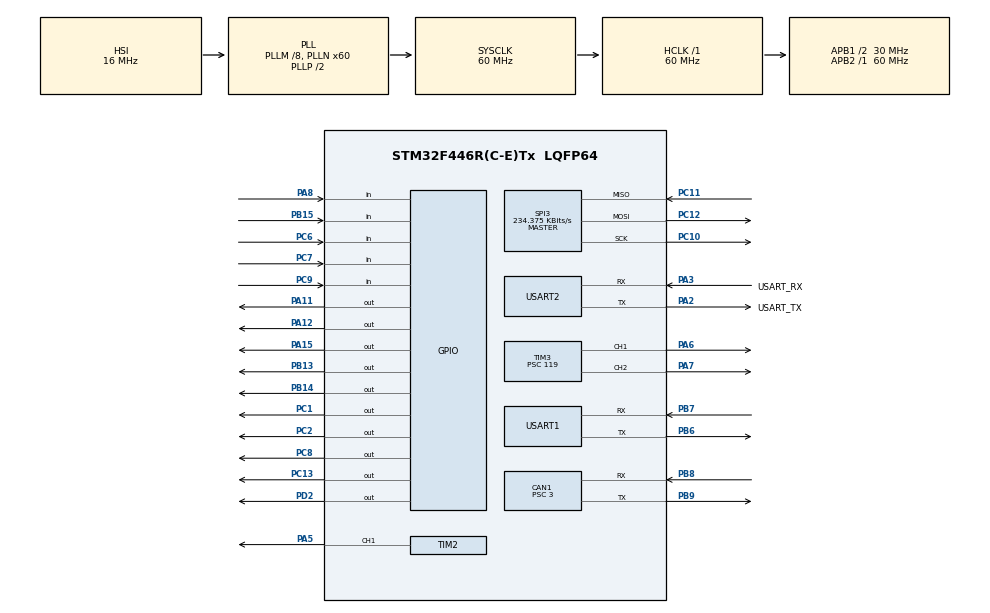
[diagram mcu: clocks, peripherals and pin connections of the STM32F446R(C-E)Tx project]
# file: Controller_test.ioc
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CAN1.BS1=CAN_BS1_7TQ
CAN1.BS2=CAN_BS2_2TQ
CAN1.CalculateTimeQuantum=100.0
CAN1.Prescaler=3
Mcu.Family=STM32F4
Mcu.Name=STM32F446R(C-E)Tx
Mcu.Package=LQFP64
NVIC.CAN1_RX0_IRQn=true\:0\:0\:false\:false\:true\:true\:true
NVIC.CAN1_RX1_IRQn=true\:0\:0\:false\:false\:true\:true\:true
NVIC.CAN1_TX_IRQn=true\:0\:0\:false\:false\:true\:true\:true
NVIC.PriorityGroup=NVIC_PRIORITYGROUP_0
NVIC.TIM6_DAC_IRQn=true\:0\:0\:false\:false\:true\:true\:true
PA10.Signal=S_TIM1_CH3
PA11.Signal=GPIO_Output
PA12.Signal=GPIO_Output
PA13.GPIO_Label=TMS
PA13.Mode=Serial_Wire
PA13.Signal=SYS_JTMS-SWDIO
PA14.GPIO_Label=TCK
PA14.Mode=Serial_Wire
PA14.Signal=SYS_JTCK-SWCLK
PA15.Signal=GPIO_Output
PA2.GPIO_Label=USART_TX
PA2.Mode=Asynchronous
PA2.Signal=USART2_TX
PA3.GPIO_Label=USART_RX
PA3.Mode=Asynchronous
PA3.Signal=USART2_RX
PA5.Signal=S_TIM2_CH1_ETR
PA6.Signal=S_TIM3_CH1
PA7.Signal=S_TIM3_CH2
PA8.GPIO_PuPd=GPIO_PULLUP
PA8.Signal=GPIO_Input
PA9.Signal=S_TIM1_CH2
PB10.Signal=SPI2_SCK
PB13.Signal=GPIO_Output
PB14.Signal=GPIO_Output
PB15.GPIO_PuPd=GPIO_PULLUP
PB15.Signal=GPIO_Input
PB3.GPIO_Label=SWO
PB3.Signal=SYS_JTDO-SWO
PB6.Mode=Asynchronous
PB6.Signal=USART1_TX
PB7.Mode=Asynchronous
PB7.Signal=USART1_RX
PB8.Mode=Master
PB8.Signal=CAN1_RX
PB9.Mode=Master
PB9.Signal=CAN1_TX
PC1.Signal=GPIO_Output
PC10.Mode=Full_Duplex_Master
PC10.Signal=SPI3_SCK
PC11.Mode=Full_Duplex_Master
PC11.Signal=SPI3_MISO
PC12.Mode=Full_Duplex_Master
PC12.Signal=SPI3_MOSI
PC13.Signal=GPIO_Output
PC14-OSC32_IN.Mode=LSE-External-Oscillator
PC14-OSC32_IN.Signal=RCC_OSC32_IN
PC15-OSC32_OUT.Mode=LSE-External-Oscillator
PC15-OSC32_OUT.Signal=RCC_OSC32_OUT
PC2.Signal=GPIO_Output
PC6.GPIO_PuPd=GPIO_PULLUP
PC6.Signal=GPIO_Input
PC7.GPIO_PuPd=GPIO_PULLUP
PC7.Signal=GPIO_Input
PC8.Signal=GPIO_Output
PC9.GPIO_PuPd=GPIO_PULLUP
PC9.Signal=GPIO_Input
PD2.Signal=GPIO_Output
PH0-OSC_IN.Mode=HSE-External-Oscillator
PH0-OSC_IN.Signal=RCC_OSC_IN
PH1-OSC_OUT.Mode=HSE-External-Oscillator
PH1-OSC_OUT.Signal=RCC_OSC_OUT
ProjectManager.HeapSize=0x200
ProjectManager.StackSize=0x400
ProjectManager.TargetToolchain=SW4STM32
RCC.48MHZClocksFreq_Value=84000000
RCC.AHBFreq_Value=60000000
RCC.APB1CLKDivider=RCC_HCLK_DIV2
RCC.APB1Freq_Value=30000000
RCC.APB1TimFreq_Value=60000000
RCC.APB2Freq_Value=60000000
RCC.APB2TimFreq_Value=60000000
RCC.CortexFreq_Value=60000000
RCC.FLatency-AdvancedSettings=FLASH_LATENCY_1
RCC.HCLKFreq_Value=60000000
RCC.HSE_VALUE=8000000
RCC.HSI_VALUE=16000000
RCC.PLLM=8
RCC.PLLN=60
RCC.SYSCLKFreq_VALUE=60000000
RCC.SYSCLKSource=RCC_SYSCLKSOURCE_PLLCLK
RCC.USBFreq_Value=60000000
RCC.VCOOutputFreq_Value=120000000
SH.S_TIM1_CH2.0=TIM1_CH2
SH.S_TIM1_CH3.0=TIM1_CH3
SH.S_TIM2_CH1_ETR.0=TIM2_CH1,PWM Generation1 CH1
SH.S_TIM3_CH1.0=TIM3_CH1,PWM Generation1 CH1
SH.S_TIM3_CH2.0=TIM3_CH2,PWM Generation2 CH2
SPI3.BaudRatePrescaler=SPI_BAUDRATEPRESCALER_128
SPI3.CLKPhase=SPI_PHASE_2EDGE
SPI3.CLKPolarity=SPI_POLARITY_HIGH
SPI3.CalculateBaudRate=234.375 KBits/s
SPI3.Direction=SPI_DIRECTION_2LINES
SPI3.FirstBit=SPI_FIRSTBIT_LSB
SPI3.Mode=SPI_MODE_MASTER
SPI3.VirtualType=VM_MASTER
TIM2.Channel-PWM\ Generation1\ CH1=TIM_CHANNEL_1
TIM2.Period=9999
TIM2.Prescaler=119
TIM3.Channel-PWM\ Generation1\ CH1=TIM_CHANNEL_1
TIM3.Channel-PWM\ Generation2\ CH2=TIM_CHANNEL_2
TIM3.Period=9999
TIM3.Prescaler=119
TIM6.Period=599
TIM6.Prescaler=999
USART1.VirtualMode=VM_ASYNC
USART2.VirtualMode=VM_ASYNC
VP_TIM1_VS_ClockSourceINT.Mode=Internal
VP_TIM6_VS_ClockSourceINT.Mode=Enable_Timer
board=NUCLEO-F446RE

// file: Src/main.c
/* USER CODE BEGIN Header */
/**
  ******************************************************************************
  * @file           : main.c
  * @brief          : Main program body
  ******************************************************************************
  ** This notice applies to any and all portions of this file
  * that are not between comment pairs USER CODE BEGIN and
  * USER CODE END. Other portions of this file, whether
  * inserted by the user or by software development tools
  * are owned by their respective copyright owners.
  *
  * COPYRIGHT(c) 2019 STMicroelectronics
  *
  * Redistribution and use in source and binary forms, with or without modification,
  * are permitted provided that the following conditions are met:
  *   1. Redistributions of source code must retain the above copyright notice,
  *      this list of conditions and the following disclaimer.
  *   2. Redistributions in binary form must reproduce the above copyright notice,
  *      this list of conditions and the following disclaimer in the documentation
  *      and/or other materials provided with the distribution.
  *   3. Neither the name of STMicroelectronics nor the names of its contributors
  *      may be used to endorse or promote products derived from this software
  *      without specific prior written permission.
  *
  * THIS SOFTWARE IS PROVIDED BY THE COPYRIGHT HOLDERS AND CONTRIBUTORS "AS IS"
  * AND ANY EXPRESS OR IMPLIED WARRANTIES, INCLUDING, BUT NOT LIMITED TO, THE
  * IMPLIED WARRANTIES OF MERCHANTABILITY AND FITNESS FOR A PARTICULAR PURPOSE ARE
  * DISCLAIMED. IN NO EVENT SHALL THE COPYRIGHT HOLDER OR CONTRIBUTORS BE LIABLE
  * FOR ANY DIRECT, INDIRECT, INCIDENTAL, SPECIAL, EXEMPLARY, OR CONSEQUENTIAL
  * DAMAGES (INCLUDING, BUT NOT LIMITED TO, PROCUREMENT OF SUBSTITUTE GOODS OR
  * SERVICES; LOSS OF USE, DATA, OR PROFITS; OR BUSINESS INTERRUPTION) HOWEVER
  * CAUSED AND ON ANY THEORY OF LIABILITY, WHETHER IN CONTRACT, STRICT LIABILITY,
  * OR TORT (INCLUDING NEGLIGENCE OR OTHERWISE) ARISING IN ANY WAY OUT OF THE USE
  * OF THIS SOFTWARE, EVEN IF ADVISED OF THE POSSIBILITY OF SUCH DAMAGE.
  *
  ******************************************************************************
  */
/* USER CODE END Header */

#include "main.h"

/* USER CODE BEGIN Includes */
#include "struct.h"
#include "controller.h"
#include "motor.h"
#include "servomotor.h"
#include "microswitch.h"
#include "CAN_main.h"

/* USER CODE END Includes */

/* USER CODE BEGIN PM */
//#define CONTROLLER_SPI_HANDLER	hspi2
/* USER CODE END PM */

CAN_HandleTypeDef hcan1;

SPI_HandleTypeDef hspi3;

TIM_HandleTypeDef htim1;
TIM_HandleTypeDef htim2;
TIM_HandleTypeDef htim3;
TIM_HandleTypeDef htim6;

UART_HandleTypeDef huart1;
UART_HandleTypeDef huart2;

/* USER CODE BEGIN PV */
static char s[255] = {'\0'};
uint16_t flag;
int AUTO_SERVO1_angle = AUTO_SERVO1_ZERO_ANGLE;
int AUTO_SERVO2_angle = AUTO_SERVO2_ZERO_ANGLE;
int angle = 0;
float current_pos = 0;

CAN_TxHeaderTypeDef   TxHeader;
CAN_RxHeaderTypeDef   RxHeader;

uint8_t               TxData[8];
uint8_t               RxData[8];
uint32_t              TxMailbox;

/* USER CODE END PV */

void SystemClock_Config(void);
static void MX_GPIO_Init(void);
static void MX_USART2_UART_Init(void);
static void MX_TIM6_Init(void);
static void MX_SPI3_Init(void);
static void MX_TIM3_Init(void);
static void MX_TIM1_Init(void);
static void MX_TIM2_Init(void);
static void MX_CAN1_Init(void);
static void MX_USART1_UART_Init(void);

/* USER CODE BEGIN 0 */

void HAL_TIM_PeriodElapsedCallback(TIM_HandleTypeDef *htim){
	if(htim->Instance == TIM6){
		static uint16_t button_data = 0;
		int can_stop = 0;
		int can_button = 0;
		int can_transmit = 0;
		int GPIO1 = 0;
		int GPIO2 = 0;

		//SPI communication with DUALSHOCK2
		//static uint16_t button_data = 0;
		//static uint16_t prev_button_data = 0;
		analog_stick_norm analog_left_norm, analog_right_norm;
		analog_stick_polar analog_left_polar, analog_right_polar;

		PSControllerGetData(&button_data, &analog_left_norm, &analog_right_norm, &analog_left_polar, &analog_right_polar);
		flag = filter(button_data, analog_left_norm, analog_right_norm, analog_left_polar, analog_right_polar);

		//button_data = 0;
	    if(flag == 1){

			//static float hand_yaw_angle = SERVO1_ZERO_ANGLE;

			//手動時は矢印ボタン左右でYaw軸
			if (button_data == CONTOROLLER_LEFT) {
				AUTO_SERVO2_angle = fminf((AUTO_SERVO2_angle + 1), AUTO_SERVO2_MAX_ANGLE);
			} else if (button_data == CONTOROLLER_RIGHT) {
				AUTO_SERVO2_angle = fmaxf((AUTO_SERVO2_angle - 1), AUTO_SERVO2_MIN_ANGLE);
			}
			if (button_data == CONTOROLLER_UP) {
				AUTO_SERVO1_angle = fminf((AUTO_SERVO1_angle + 1), AUTO_SERVO1_MAX_ANGLE);
			} else if (button_data == CONTOROLLER_DOWN) {
				AUTO_SERVO1_angle = fmaxf((AUTO_SERVO1_angle - 1), AUTO_SERVO1_MIN_ANGLE);
			}
			ServoSetAngle(AUTO_SERVO2_angle,AUTO_SERVO2_ID);
			ServoSetAngle(AUTO_SERVO1_angle,AUTO_SERVO1_ID);

			 HAL_GPIO_WritePin(GPIOC, GPIO_PIN_2, GPIO_PIN_RESET);
			 HAL_GPIO_WritePin(GPIOC, GPIO_PIN_13, GPIO_PIN_RESET);

			if (button_data == CONTOROLLER_DOWN){
				can_button = 1;
			}
			if (button_data == CONTOROLLER_CIRCLE){
				 HAL_GPIO_WritePin(GPIOC, GPIO_PIN_2, GPIO_PIN_SET);
				 GPIO1 = 1;

			}
			if (button_data == CONTOROLLER_SQUARE){
				 HAL_GPIO_WritePin(GPIOC, GPIO_PIN_13, GPIO_PIN_SET);
				 GPIO2 = 1;
			}
			if(current_pos > 0.15f || current_pos < -0.15f){
				can_stop = 1;
			}

			/*
			//CANでコントローラの入力から計算した目標位置を送信
			  TxHeader.StdId = 0x123;
			  TxHeader.RTR = CAN_RTR_DATA;
			  TxHeader.IDE = CAN_ID_STD;
			  TxHeader.DLC = 3;
			  TxHeader.TransmitGlobalTime = DISABLE;
			  TxData[0] = (int)(current_pos*1000);
			  TxData[1] = can_button;
			  TxData[2] = 1;

			  if(can_button == 1){
					//コントローラの入力により目標直交座標を更新
					current_pos = current_pos + (analog_left_norm.x)  * MOTOR_speed;
			  }

			  if(can_stop != 1){
				  // Request transmission
				  if(HAL_CAN_AddTxMessage(&hcan1, &TxHeader, TxData, &TxMailbox) != HAL_OK)
				  {
				    // Transmission request Error
					can_transmit = 100;
				    Error_Handler();
				  }
				  can_transmit = 1;
			  }
			  */

		    	sprintf(s, "button_data: %d left_norm.x: %d angle2: %d cur_pos: %d SW: %d GPIO: %d %d angle1: %d \r\n", (int)button_data,(int)(analog_right_norm.x*100.0),AUTO_SERVO2_angle,(int)(current_pos*1000.0),MicroSwitchIsOn(MICSW_R_MAX),GPIO1,GPIO2,AUTO_SERVO1_angle);
		    	HAL_UART_Transmit(&huart2,(uint8_t *)s, strlen(s), 100);

		    	/*
		    	int txData[1];
		    	txData[0] = 1;

		    	//int txData = 1;
		    	HAL_UART_Transmit(&huart1,(int *)txData, sizeof(txData), 100);

				*/

	    }
	}
}
/* USER CODE END 0 */

int main(void)
{

  /* MCU Configuration--------------------------------------------------------*/

  /* Reset of all peripherals, Initializes the Flash interface and the Systick. */
  HAL_Init();

  /* Configure the system clock */
  SystemClock_Config();

  /* Initialize all configured peripherals */
  MX_GPIO_Init();
  MX_USART2_UART_Init();
  MX_TIM6_Init();
  MX_SPI3_Init();
  MX_TIM3_Init();
  MX_TIM1_Init();
  MX_TIM2_Init();
  MX_CAN1_Init();
  MX_USART1_UART_Init();
  /* USER CODE BEGIN 2 */
 // CoordinateEnable();
  my_CAN_Init(&hcan1);

  if (HAL_CAN_ActivateNotification(&hcan1, CAN_IT_RX_FIFO0_MSG_PENDING) != HAL_OK)
  {

	Error_Handler();
  }

  ServoEnable();

//  TestPos();

  HAL_Delay(2000);

//  CoodinateDisable();

  HAL_TIM_Base_Start_IT(&htim6);

  /* USER CODE END 2 */

  /* Infinite loop */
  while (1)
  {

  }
}

void SystemClock_Config(void)
{
  RCC_OscInitTypeDef RCC_OscInitStruct = {0};
  RCC_ClkInitTypeDef RCC_ClkInitStruct = {0};

  /** Configure the main internal regulator output voltage
  */
  __HAL_RCC_PWR_CLK_ENABLE();
  __HAL_PWR_VOLTAGESCALING_CONFIG(PWR_REGULATOR_VOLTAGE_SCALE3);
  /** Initializes the CPU, AHB and APB busses clocks
  */
  RCC_OscInitStruct.OscillatorType = RCC_OSCILLATORTYPE_HSI;
  RCC_OscInitStruct.HSIState = RCC_HSI_ON;
  RCC_OscInitStruct.HSICalibrationValue = RCC_HSICALIBRATION_DEFAULT;
  RCC_OscInitStruct.PLL.PLLState = RCC_PLL_ON;
  RCC_OscInitStruct.PLL.PLLSource = RCC_PLLSOURCE_HSI;
  RCC_OscInitStruct.PLL.PLLM = 8;
  RCC_OscInitStruct.PLL.PLLN = 60;
  RCC_OscInitStruct.PLL.PLLP = RCC_PLLP_DIV2;
  RCC_OscInitStruct.PLL.PLLQ = 2;
  RCC_OscInitStruct.PLL.PLLR = 2;
  if (HAL_RCC_OscConfig(&RCC_OscInitStruct) != HAL_OK)
  {
    Error_Handler();
  }
  /** Initializes the CPU, AHB and APB busses clocks
  */
  RCC_ClkInitStruct.ClockType = RCC_CLOCKTYPE_HCLK|RCC_CLOCKTYPE_SYSCLK
                              |RCC_CLOCKTYPE_PCLK1|RCC_CLOCKTYPE_PCLK2;
  RCC_ClkInitStruct.SYSCLKSource = RCC_SYSCLKSOURCE_PLLCLK;
  RCC_ClkInitStruct.AHBCLKDivider = RCC_SYSCLK_DIV1;
  RCC_ClkInitStruct.APB1CLKDivider = RCC_HCLK_DIV2;
  RCC_ClkInitStruct.APB2CLKDivider = RCC_HCLK_DIV1;

  if (HAL_RCC_ClockConfig(&RCC_ClkInitStruct, FLASH_LATENCY_1) != HAL_OK)
  {
    Error_Handler();
  }
}

static void MX_CAN1_Init(void)
{

  hcan1.Instance = CAN1;
  hcan1.Init.Prescaler = 3;
  hcan1.Init.Mode = CAN_MODE_NORMAL;
  hcan1.Init.SyncJumpWidth = CAN_SJW_1TQ;
  hcan1.Init.TimeSeg1 = CAN_BS1_7TQ;
  hcan1.Init.TimeSeg2 = CAN_BS2_2TQ;
  hcan1.Init.TimeTriggeredMode = DISABLE;
  hcan1.Init.AutoBusOff = DISABLE;
  hcan1.Init.AutoWakeUp = DISABLE;
  hcan1.Init.AutoRetransmission = DISABLE;
  hcan1.Init.ReceiveFifoLocked = DISABLE;
  hcan1.Init.TransmitFifoPriority = DISABLE;
  if (HAL_CAN_Init(&hcan1) != HAL_OK)
  {
    Error_Handler();
  }

}

static void MX_SPI3_Init(void)
{

  /* SPI3 parameter configuration*/
  hspi3.Instance = SPI3;
  hspi3.Init.Mode = SPI_MODE_MASTER;
  hspi3.Init.Direction = SPI_DIRECTION_2LINES;
  hspi3.Init.DataSize = SPI_DATASIZE_8BIT;
  hspi3.Init.CLKPolarity = SPI_POLARITY_HIGH;
  hspi3.Init.CLKPhase = SPI_PHASE_2EDGE;
  hspi3.Init.NSS = SPI_NSS_SOFT;
  hspi3.Init.BaudRatePrescaler = SPI_BAUDRATEPRESCALER_128;
  hspi3.Init.FirstBit = SPI_FIRSTBIT_LSB;
  hspi3.Init.TIMode = SPI_TIMODE_DISABLE;
  hspi3.Init.CRCCalculation = SPI_CRCCALCULATION_DISABLE;
  hspi3.Init.CRCPolynomial = 10;
  if (HAL_SPI_Init(&hspi3) != HAL_OK)
  {
    Error_Handler();
  }

}

static void MX_TIM1_Init(void)
{

  TIM_ClockConfigTypeDef sClockSourceConfig = {0};
  TIM_MasterConfigTypeDef sMasterConfig = {0};

  htim1.Instance = TIM1;
  htim1.Init.Prescaler = 0;
  htim1.Init.CounterMode = TIM_COUNTERMODE_UP;
  htim1.Init.Period = 0;
  htim1.Init.ClockDivision = TIM_CLOCKDIVISION_DIV1;
  htim1.Init.RepetitionCounter = 0;
  htim1.Init.AutoReloadPreload = TIM_AUTORELOAD_PRELOAD_DISABLE;
  if (HAL_TIM_Base_Init(&htim1) != HAL_OK)
  {
    Error_Handler();
  }
  sClockSourceConfig.ClockSource = TIM_CLOCKSOURCE_INTERNAL;
  if (HAL_TIM_ConfigClockSource(&htim1, &sClockSourceConfig) != HAL_OK)
  {
    Error_Handler();
  }
  sMasterConfig.MasterOutputTrigger = TIM_TRGO_RESET;
  sMasterConfig.MasterSlaveMode = TIM_MASTERSLAVEMODE_DISABLE;
  if (HAL_TIMEx_MasterConfigSynchronization(&htim1, &sMasterConfig) != HAL_OK)
  {
    Error_Handler();
  }

}

static void MX_TIM2_Init(void)
{

  TIM_MasterConfigTypeDef sMasterConfig = {0};
  TIM_OC_InitTypeDef sConfigOC = {0};

  htim2.Instance = TIM2;
  htim2.Init.Prescaler = 119;
  htim2.Init.CounterMode = TIM_COUNTERMODE_UP;
  htim2.Init.Period = 9999;
  htim2.Init.ClockDivision = TIM_CLOCKDIVISION_DIV1;
  htim2.Init.AutoReloadPreload = TIM_AUTORELOAD_PRELOAD_DISABLE;
  if (HAL_TIM_PWM_Init(&htim2) != HAL_OK)
  {
    Error_Handler();
  }
  sMasterConfig.MasterOutputTrigger = TIM_TRGO_RESET;
  sMasterConfig.MasterSlaveMode = TIM_MASTERSLAVEMODE_DISABLE;
  if (HAL_TIMEx_MasterConfigSynchronization(&htim2, &sMasterConfig) != HAL_OK)
  {
    Error_Handler();
  }
  sConfigOC.OCMode = TIM_OCMODE_PWM1;
  sConfigOC.Pulse = 0;
  sConfigOC.OCPolarity = TIM_OCPOLARITY_HIGH;
  sConfigOC.OCFastMode = TIM_OCFAST_DISABLE;
  if (HAL_TIM_PWM_ConfigChannel(&htim2, &sConfigOC, TIM_CHANNEL_1) != HAL_OK)
  {
    Error_Handler();
  }
  HAL_TIM_MspPostInit(&htim2);

}

static void MX_TIM3_Init(void)
{

  TIM_MasterConfigTypeDef sMasterConfig = {0};
  TIM_OC_InitTypeDef sConfigOC = {0};

  htim3.Instance = TIM3;
  htim3.Init.Prescaler = 119;
  htim3.Init.CounterMode = TIM_COUNTERMODE_UP;
  htim3.Init.Period = 9999;
  htim3.Init.ClockDivision = TIM_CLOCKDIVISION_DIV1;
  htim3.Init.AutoReloadPreload = TIM_AUTORELOAD_PRELOAD_DISABLE;
  if (HAL_TIM_PWM_Init(&htim3) != HAL_OK)
  {
    Error_Handler();
  }
  sMasterConfig.MasterOutputTrigger = TIM_TRGO_RESET;
  sMasterConfig.MasterSlaveMode = TIM_MASTERSLAVEMODE_DISABLE;
  if (HAL_TIMEx_MasterConfigSynchronization(&htim3, &sMasterConfig) != HAL_OK)
  {
    Error_Handler();
  }
  sConfigOC.OCMode = TIM_OCMODE_PWM1;
  sConfigOC.Pulse = 0;
  sConfigOC.OCPolarity = TIM_OCPOLARITY_HIGH;
  sConfigOC.OCFastMode = TIM_OCFAST_DISABLE;
  if (HAL_TIM_PWM_ConfigChannel(&htim3, &sConfigOC, TIM_CHANNEL_1) != HAL_OK)
  {
    Error_Handler();
  }
  if (HAL_TIM_PWM_ConfigChannel(&htim3, &sConfigOC, TIM_CHANNEL_2) != HAL_OK)
  {
    Error_Handler();
  }
  HAL_TIM_MspPostInit(&htim3);

}

static void MX_TIM6_Init(void)
{

  TIM_MasterConfigTypeDef sMasterConfig = {0};

  htim6.Instance = TIM6;
  htim6.Init.Prescaler = 999;
  htim6.Init.CounterMode = TIM_COUNTERMODE_UP;
  htim6.Init.Period = 599;
  htim6.Init.AutoReloadPreload = TIM_AUTORELOAD_PRELOAD_DISABLE;
  if (HAL_TIM_Base_Init(&htim6) != HAL_OK)
  {
    Error_Handler();
  }
  sMasterConfig.MasterOutputTrigger = TIM_TRGO_RESET;
  sMasterConfig.MasterSlaveMode = TIM_MASTERSLAVEMODE_DISABLE;
  if (HAL_TIMEx_MasterConfigSynchronization(&htim6, &sMasterConfig) != HAL_OK)
  {
    Error_Handler();
  }

}

static void MX_USART1_UART_Init(void)
{

  huart1.Instance = USART1;
  huart1.Init.BaudRate = 115200;
  huart1.Init.WordLength = UART_WORDLENGTH_8B;
  huart1.Init.StopBits = UART_STOPBITS_1;
  huart1.Init.Parity = UART_PARITY_NONE;
  huart1.Init.Mode = UART_MODE_TX_RX;
  huart1.Init.HwFlowCtl = UART_HWCONTROL_NONE;
  huart1.Init.OverSampling = UART_OVERSAMPLING_16;
  if (HAL_UART_Init(&huart1) != HAL_OK)
  {
    Error_Handler();
  }

}

static void MX_USART2_UART_Init(void)
{

  huart2.Instance = USART2;
  huart2.Init.BaudRate = 115200;
  huart2.Init.WordLength = UART_WORDLENGTH_8B;
  huart2.Init.StopBits = UART_STOPBITS_1;
  huart2.Init.Parity = UART_PARITY_NONE;
  huart2.Init.Mode = UART_MODE_TX_RX;
  huart2.Init.HwFlowCtl = UART_HWCONTROL_NONE;
  huart2.Init.OverSampling = UART_OVERSAMPLING_16;
  if (HAL_UART_Init(&huart2) != HAL_OK)
  {
    Error_Handler();
  }

}

static void MX_GPIO_Init(void)
{
  GPIO_InitTypeDef GPIO_InitStruct = {0};

  /* GPIO Ports Clock Enable */
  __HAL_RCC_GPIOC_CLK_ENABLE();
  __HAL_RCC_GPIOH_CLK_ENABLE();
  __HAL_RCC_GPIOA_CLK_ENABLE();
  __HAL_RCC_GPIOB_CLK_ENABLE();
  __HAL_RCC_GPIOD_CLK_ENABLE();

  /*Configure GPIO pin Output Level */
  HAL_GPIO_WritePin(GPIOC, GPIO_PIN_13|GPIO_PIN_1|GPIO_PIN_2|GPIO_PIN_8, GPIO_PIN_RESET);

  /*Configure GPIO pin Output Level */
  HAL_GPIO_WritePin(GPIOB, GPIO_PIN_13|GPIO_PIN_14, GPIO_PIN_RESET);

  /*Configure GPIO pin Output Level */
  HAL_GPIO_WritePin(GPIOA, GPIO_PIN_11|GPIO_PIN_12|GPIO_PIN_15, GPIO_PIN_RESET);

  /*Configure GPIO pin Output Level */
  HAL_GPIO_WritePin(GPIOD, GPIO_PIN_2, GPIO_PIN_RESET);

  /*Configure GPIO pins : PC13 PC1 PC2 PC8 */
  GPIO_InitStruct.Pin = GPIO_PIN_13|GPIO_PIN_1|GPIO_PIN_2|GPIO_PIN_8;
  GPIO_InitStruct.Mode = GPIO_MODE_OUTPUT_PP;
  GPIO_InitStruct.Pull = GPIO_NOPULL;
  GPIO_InitStruct.Speed = GPIO_SPEED_FREQ_LOW;
  HAL_GPIO_Init(GPIOC, &GPIO_InitStruct);

  /*Configure GPIO pin : PB10 */
  GPIO_InitStruct.Pin = GPIO_PIN_10;
  GPIO_InitStruct.Mode = GPIO_MODE_AF_PP;
  GPIO_InitStruct.Pull = GPIO_NOPULL;
  GPIO_InitStruct.Speed = GPIO_SPEED_FREQ_VERY_HIGH;
  GPIO_InitStruct.Alternate = GPIO_AF5_SPI2;
  HAL_GPIO_Init(GPIOB, &GPIO_InitStruct);

  /*Configure GPIO pins : PB13 PB14 */
  GPIO_InitStruct.Pin = GPIO_PIN_13|GPIO_PIN_14;
  GPIO_InitStruct.Mode = GPIO_MODE_OUTPUT_PP;
  GPIO_InitStruct.Pull = GPIO_NOPULL;
  GPIO_InitStruct.Speed = GPIO_SPEED_FREQ_LOW;
  HAL_GPIO_Init(GPIOB, &GPIO_InitStruct);

  /*Configure GPIO pin : PB15 */
  GPIO_InitStruct.Pin = GPIO_PIN_15;
  GPIO_InitStruct.Mode = GPIO_MODE_INPUT;
  GPIO_InitStruct.Pull = GPIO_PULLUP;
  HAL_GPIO_Init(GPIOB, &GPIO_InitStruct);

  /*Configure GPIO pins : PC6 PC7 PC9 */
  GPIO_InitStruct.Pin = GPIO_PIN_6|GPIO_PIN_7|GPIO_PIN_9;
  GPIO_InitStruct.Mode = GPIO_MODE_INPUT;
  GPIO_InitStruct.Pull = GPIO_PULLUP;
  HAL_GPIO_Init(GPIOC, &GPIO_InitStruct);

  /*Configure GPIO pin : PA8 */
  GPIO_InitStruct.Pin = GPIO_PIN_8;
  GPIO_InitStruct.Mode = GPIO_MODE_INPUT;
  GPIO_InitStruct.Pull = GPIO_PULLUP;
  HAL_GPIO_Init(GPIOA, &GPIO_InitStruct);

  /*Configure GPIO pins : PA11 PA12 PA15 */
  GPIO_InitStruct.Pin = GPIO_PIN_11|GPIO_PIN_12|GPIO_PIN_15;
  GPIO_InitStruct.Mode = GPIO_MODE_OUTPUT_PP;
  GPIO_InitStruct.Pull = GPIO_NOPULL;
  GPIO_InitStruct.Speed = GPIO_SPEED_FREQ_LOW;
  HAL_GPIO_Init(GPIOA, &GPIO_InitStruct);

  /*Configure GPIO pin : PD2 */
  GPIO_InitStruct.Pin = GPIO_PIN_2;
  GPIO_InitStruct.Mode = GPIO_MODE_OUTPUT_PP;
  GPIO_InitStruct.Pull = GPIO_NOPULL;
  GPIO_InitStruct.Speed = GPIO_SPEED_FREQ_LOW;
  HAL_GPIO_Init(GPIOD, &GPIO_InitStruct);

}

void Error_Handler(void)
{
}

/************************ (C) COPYRIGHT STMicroelectronics *****END OF FILE****/
